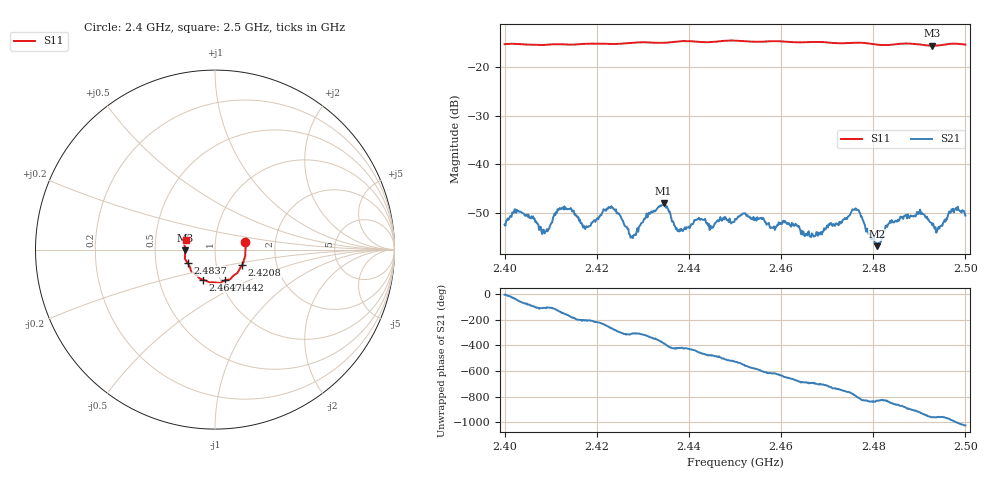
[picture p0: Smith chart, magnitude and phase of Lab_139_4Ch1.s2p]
# Hz S RI R 50
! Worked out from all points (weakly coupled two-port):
!   601 points, 2.4 GHz to 2.5 GHz, reference 50 ohm
!   highest |S21| = -47.99 dB at 2.4345 GHz (marker M1); lowest = -56.8 dB at 2.4808 GHz (marker M2)
!   lowest |S11| = -15.6 dB at 2.4928 GHz (marker M3), VSWR 1.40, Z = 35.8 - j0.344 ohm
!   |S11| at or under -10 dB: start of sweep to end of sweep
!   S12 and S22 are empty: the file has one direction only
!   S11 on the Smith chart (normalised r, x): 2.4 GHz: 1.40, +0.12; 2.4208 GHz: 1.33, -0.24; 2.4442 GHz: 1.05, -0.37; 2.4647 GHz: 0.83, -0.29; 2.4837 GHz: 0.73, -0.11; 2.5 GHz: 0.72, +0.08
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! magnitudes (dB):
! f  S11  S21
! 2.4 GHz  -15.3  -52.4
! 2.4027 GHz  -15.2  -49.4
! 2.4085 GHz  -15.4  -53.4
! 2.4125 GHz  -15.3  -48.9
! 2.4167 GHz  -15.2  -52.0
! 2.4208 GHz  -15.2  -50.4
! 2.4237 GHz  -15.2  -49.2
! 2.4278 GHz  -15.0  -55.2
! 2.4333 GHz  -15.0  -48.8
! 2.4345 GHz  -15.0  -48.0
! 2.4377 GHz  -14.7  -53.6
! 2.4442 GHz  -14.9  -52.6
! 2.45 GHz  -14.5  -51.2
! 2.4647 GHz  -14.9  -54.4
! 2.4667 GHz  -14.8  -54.2
! 2.4763 GHz  -15.0  -49.4
! 2.4808 GHz  -15.4  -56.8
! 2.4833 GHz  -15.4  -52.2
! 2.4837 GHz  -15.4  -51.6
! 2.49 GHz  -15.3  -50.1
! 2.4928 GHz  -15.6  -52.5
! 2.5 GHz  -15.3  -50.5
